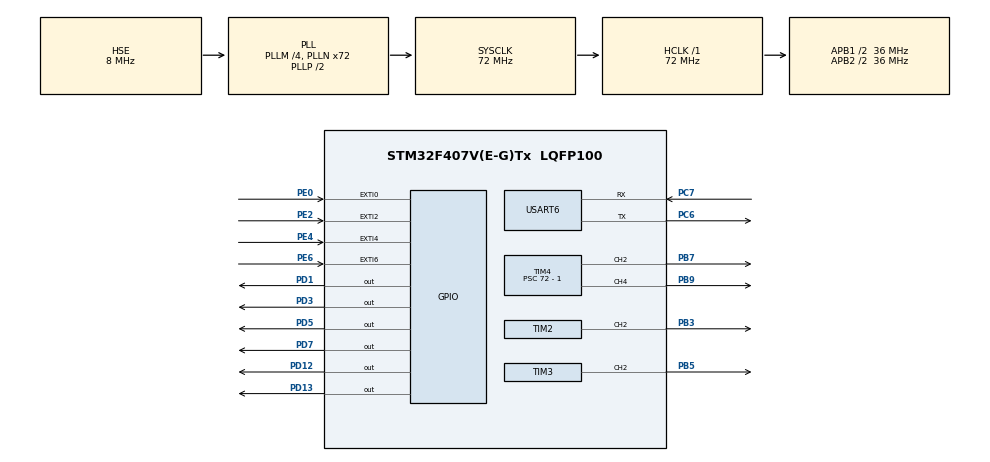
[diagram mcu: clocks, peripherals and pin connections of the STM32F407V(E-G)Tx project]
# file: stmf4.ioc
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Mcu.Family=STM32F4
VP_TIM5_VS_ClockSourceINT.Mode=Internal
PH0-OSC_IN.Signal=RCC_OSC_IN
RCC.CortexFreq_Value=72000000
TIM2.Channel-PWM\ Generation2\ CH2=TIM_CHANNEL_2
RCC.SYSCLKSource=RCC_SYSCLKSOURCE_PLLCLK
ProjectManager.StackSize=0x400
PD13.Signal=GPIO_Output
NVIC.TIM5_IRQn=true\:1\:0\:true\:false\:true\:true\:true
RCC.HCLKFreq_Value=72000000
RCC.APB2TimFreq_Value=72000000
TIM3.Period=100 - 1
PC7.Signal=USART6_RX
RCC.AHBFreq_Value=72000000
PH0-OSC_IN.Mode=HSE-External-Oscillator
RCC.HSE_VALUE=8000000
TIM3.Prescaler=72-1
SH.S_TIM4_CH2.0=TIM4_CH2,PWM Generation2 CH2
PE2.Signal=GPXTI2
PB7.Signal=S_TIM4_CH2
TIM4.Period=100 - 1
PE4.Signal=GPXTI4
PH1-OSC_OUT.Mode=HSE-External-Oscillator
PB9.Signal=S_TIM4_CH4
Mcu.Package=LQFP100
TIM2.Prescaler=72 - 1
USART6.VirtualMode=VM_ASYNC
PD12.Signal=GPIO_Output
RCC.APB2CLKDivider=RCC_HCLK_DIV2
NVIC.EXTI2_IRQn=true\:2\:1\:true\:false\:true\:true\:true
RCC.APB1TimFreq_Value=72000000
TIM4.Channel-PWM\ Generation4\ CH4=TIM_CHANNEL_4
VP_TIM3_VS_ClockSourceINT.Mode=Internal
RCC.PLLSourceVirtual=RCC_PLLSOURCE_HSE
NVIC.EXTI4_IRQn=true\:2\:2\:true\:false\:true\:true\:true
SH.S_TIM4_CH4.0=TIM4_CH4,PWM Generation4 CH4
PD3.Signal=GPIO_Output
PC6.Signal=USART6_TX
PD7.Signal=GPIO_Output
PD1.Signal=GPIO_Output
PD5.Signal=GPIO_Output
RCC.APB1CLKDivider=RCC_HCLK_DIV2
NVIC.USART6_IRQn=true\:0\:0\:false\:false\:true\:true\:true
SH.S_TIM2_CH2.0=TIM2_CH2,PWM Generation2 CH2
ProjectManager.TargetToolchain=STM32CubeIDE
PC6.Mode=Asynchronous
TIM4.Prescaler=72 - 1
RCC.LSE_VALUE=32768
SH.S_TIM3_CH2.0=TIM3_CH2,PWM Generation2 CH2
board=STM32F407G-DISC1
RCC.VCOOutputFreq_Value=144000000
TIM4.Channel-PWM\ Generation2\ CH2=TIM_CHANNEL_2
RCC.APB2Freq_Value=36000000
VP_TIM2_VS_ClockSourceINT.Mode=Internal
PH1-OSC_OUT.Signal=RCC_OSC_OUT
TIM2.Period=100 - 1
PE6.Signal=GPXTI6
Mcu.Name=STM32F407V(E-G)Tx
PE0.Signal=GPXTI0
RCC.48MHZClocksFreq_Value=20571428.57142857
PB3.Signal=S_TIM2_CH2
NVIC.EXTI0_IRQn=true\:2\:0\:true\:false\:true\:true\:true
RCC.SYSCLKFreq_VALUE=72000000
PB5.Signal=S_TIM3_CH2
TIM5.Prescaler=7200-1
NVIC.EXTI9_5_IRQn=true\:2\:3\:true\:false\:true\:true\:true
ProjectManager.HeapSize=0x200
RCC.HSI_VALUE=16000000
VP_TIM4_VS_ClockSourceINT.Mode=Internal
RCC.PLLQ=7
NVIC.PriorityGroup=NVIC_PRIORITYGROUP_2
TIM3.Channel-PWM\ Generation2\ CH2=TIM_CHANNEL_2
RCC.PLLM=4
RCC.PLLN=72
TIM5.Period=1000 - 1
PC7.Mode=Asynchronous
RCC.APB1Freq_Value=36000000

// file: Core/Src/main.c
/* USER CODE BEGIN Header */
/**
  ******************************************************************************
  * @file           : main.c
  * @brief          : Main program body
  ******************************************************************************
  * @attention
  *
  * <h2><center>&copy; Copyright (c) 2022 STMicroelectronics.
  * All rights reserved.</center></h2>
  *
  * This software component is licensed by ST under BSD 3-Clause license,
  * the "License"; You may not use this file except in compliance with the
  * License. You may obtain a copy of the License at:
  *                        opensource.org/licenses/BSD-3-Clause
  *
  ******************************************************************************
  */
/* USER CODE END Header */
#include "main.h"

/* USER CODE BEGIN Includes */

#include "string.h"
#include "math.h"

/* USER CODE END Includes */

TIM_HandleTypeDef htim2;
TIM_HandleTypeDef htim3;
TIM_HandleTypeDef htim4;
TIM_HandleTypeDef htim5;

UART_HandleTypeDef huart6;

/* USER CODE BEGIN PV */
//									3	  5     7     9
uint8_t speed_tx[12] = {'\n','s',':',0,':',0,':',0,':',0,'#','\n'};

uint8_t counter[4] = {0,0,0,0};

uint8_t temp = 0;

uint8_t command[30];

uint8_t index_command = 0;

uint8_t buffer_flag = 0;

uint8_t update_motor_state = 0;

int duty[4]= {0,0,0,0};

uint8_t dir[4]= {1,1,1,1};

uint8_t check_command[] = {'!','d','r','v'};

/* USER CODE END PV */

void SystemClock_Config(void);
static void MX_GPIO_Init(void);
static void MX_TIM2_Init(void);
static void MX_TIM3_Init(void);
static void MX_TIM4_Init(void);
static void MX_TIM5_Init(void);
static void MX_USART6_UART_Init(void);
/* USER CODE BEGIN PFP */

void HAL_GPIO_EXTI_Callback(uint16_t GPIO_Pin)
{
	switch(GPIO_Pin)
	{

		case GPIO_PIN_0:
		{
			counter[0]++;
			break;
		}
		case GPIO_PIN_2:
		{
			counter[1]++;
			break;
		}
		case GPIO_PIN_4:
		{
			counter[2]++;
			break;
		}
		case GPIO_PIN_6:
		{
			counter[3]++;
			break;
		}
		default:
			break;

	}

}

void HAL_TIM_PeriodElapsedCallback(TIM_HandleTypeDef * htim)
{
	int idx = 3;

	for(int i = 0; i < 4; i++)
	{
		speed_tx[idx] = counter[i];
		idx+= 2;
		counter[i] = 0;
	}

	GPIOD->ODR ^= (1<<13);
}

int sth = 0;

void HAL_UART_RxCpltCallback(UART_HandleTypeDef * huart)
{

	if(huart->Instance == USART6)
	{
//		if(sth % 100 == 0) GPIOD->ODR ^= (1<<12);
//
//		else sth++;

		command[index_command++] = temp;

		index_command %= 30;

		HAL_UART_Receive_IT(&huart6, &temp,	 sizeof(temp));

		buffer_flag = 1;
	}

}

void HAL_UART_TxCpltCallback(UART_HandleTypeDef * huart)
{

	GPIOD->ODR ^= (1<<12);

}

void Command_parser()
{

	if(temp == '#')
	{

		index_command = (index_command == 0)? 28: index_command - 2;

		for(int i = 3; i >= 0 ; i--)
		{

			int k =0;

			duty[i] = 0;

			while(k < 3)
			{

				if(command[index_command] > '9' || command[index_command] < '0')
				{
					return;
				}

				duty[i] = duty[i] + (int) pow(10, (double)k)*(command[index_command] - '0');

				index_command =  (index_command == 0)? 29: index_command - 1;

				k++;

			}

			if(duty[i] > 200)
			{
				return;
			}

			if(duty[i] >= 100)
			{
				dir[i] = 1;

				duty[i] -= 100;
			}

			else dir[i] = 0;

			if(command[index_command] != ':')
			{
				return;
			}

			index_command = (index_command == 0)? 29: index_command - 1;

		}

		for(int i = 3; i <= 0; i--)
		{
			if(check_command[i] != command[index_command])
			{
				return;
			}

		}

		update_motor_state = 1;
	}

}

void Spin_M1(int speed, uint8_t dir)
{
	if(speed > 100) return;

	if(dir) GPIOD->ODR |= (1<<1);

	else GPIOD->ODR &= ~(1<<1);

	TIM2->CCR2 = speed;
}

void Spin_M2(int speed, uint8_t dir)
{
	if(speed > 100) return;

	if(dir) GPIOD->ODR |= (1<<3);

	else GPIOD->ODR &= ~(1<<3);

	TIM3->CCR2 = speed;
}

void Spin_M3(int speed, uint8_t dir)
{
	if(speed > 100) return;

	if(dir) GPIOD->ODR |= (1<<5);

	else GPIOD->ODR &= ~(1<<5);

	TIM4->CCR2 = speed;
}

void Spin_M4(int speed, uint8_t dir)
{
	if(speed > 100) return;

	if(dir) GPIOD->ODR |= (1<<7);

	else GPIOD->ODR &= ~(1<<7);

	TIM4->CCR4 = speed;
}

void Driver()
{
	if(update_motor_state)
	{
		update_motor_state = 0;

		Spin_M1(duty[0],dir[0]);

		Spin_M2(duty[1],dir[1]);

		Spin_M3(duty[2],dir[2]);

		Spin_M4(duty[3],dir[3]);
	}
}

/* USER CODE END PFP */

int main(void)
{

  /* MCU Configuration--------------------------------------------------------*/

  /* Reset of all peripherals, Initializes the Flash interface and the Systick. */
  HAL_Init();

  /* Configure the system clock */
  SystemClock_Config();

  /* Initialize all configured peripherals */
  MX_GPIO_Init();
  MX_TIM2_Init();
  MX_TIM3_Init();
  MX_TIM4_Init();
  MX_TIM5_Init();
  MX_USART6_UART_Init();
  /* USER CODE BEGIN 2 */

  HAL_TIM_PWM_Start(&htim2, TIM_CHANNEL_2);
  HAL_TIM_PWM_Start(&htim3, TIM_CHANNEL_2);
  HAL_TIM_PWM_Start(&htim4, TIM_CHANNEL_2);
  HAL_TIM_PWM_Start(&htim4, TIM_CHANNEL_4);

  HAL_UART_Receive_IT(&huart6, &temp, sizeof(temp));

  HAL_TIM_Base_Start_IT(&htim5);

  HAL_UART_Transmit_DMA(&huart6, speed_tx, 12);

  /* USER CODE END 2 */

  /* Infinite loop */
  while (1)
  {

    /* USER CODE BEGIN 3 */

	  if(buffer_flag)
	  {
		 // HAL_UART_Transmit(&huart1, speed_tx, 12, 100);

		  Command_parser();

		  Driver();

		  buffer_flag = 0;
	  }

  }
  /* USER CODE END 3 */
}

void SystemClock_Config(void)
{
  RCC_OscInitTypeDef RCC_OscInitStruct = {0};
  RCC_ClkInitTypeDef RCC_ClkInitStruct = {0};

  /** Configure the main internal regulator output voltage
  */
  __HAL_RCC_PWR_CLK_ENABLE();
  __HAL_PWR_VOLTAGESCALING_CONFIG(PWR_REGULATOR_VOLTAGE_SCALE1);
  /** Initializes the RCC Oscillators according to the specified parameters
  * in the RCC_OscInitTypeDef structure.
  */
  RCC_OscInitStruct.OscillatorType = RCC_OSCILLATORTYPE_HSE;
  RCC_OscInitStruct.HSEState = RCC_HSE_ON;
  RCC_OscInitStruct.PLL.PLLState = RCC_PLL_ON;
  RCC_OscInitStruct.PLL.PLLSource = RCC_PLLSOURCE_HSE;
  RCC_OscInitStruct.PLL.PLLM = 4;
  RCC_OscInitStruct.PLL.PLLN = 72;
  RCC_OscInitStruct.PLL.PLLP = RCC_PLLP_DIV2;
  RCC_OscInitStruct.PLL.PLLQ = 7;
  if (HAL_RCC_OscConfig(&RCC_OscInitStruct) != HAL_OK)
  {
    Error_Handler();
  }
  /** Initializes the CPU, AHB and APB buses clocks
  */
  RCC_ClkInitStruct.ClockType = RCC_CLOCKTYPE_HCLK|RCC_CLOCKTYPE_SYSCLK
                              |RCC_CLOCKTYPE_PCLK1|RCC_CLOCKTYPE_PCLK2;
  RCC_ClkInitStruct.SYSCLKSource = RCC_SYSCLKSOURCE_PLLCLK;
  RCC_ClkInitStruct.AHBCLKDivider = RCC_SYSCLK_DIV1;
  RCC_ClkInitStruct.APB1CLKDivider = RCC_HCLK_DIV2;
  RCC_ClkInitStruct.APB2CLKDivider = RCC_HCLK_DIV2;

  if (HAL_RCC_ClockConfig(&RCC_ClkInitStruct, FLASH_LATENCY_2) != HAL_OK)
  {
    Error_Handler();
  }
}

static void MX_TIM2_Init(void)
{

  TIM_ClockConfigTypeDef sClockSourceConfig = {0};
  TIM_MasterConfigTypeDef sMasterConfig = {0};
  TIM_OC_InitTypeDef sConfigOC = {0};

  htim2.Instance = TIM2;
  htim2.Init.Prescaler = 72 - 1;
  htim2.Init.CounterMode = TIM_COUNTERMODE_UP;
  htim2.Init.Period = 100 - 1;
  htim2.Init.ClockDivision = TIM_CLOCKDIVISION_DIV1;
  htim2.Init.AutoReloadPreload = TIM_AUTORELOAD_PRELOAD_DISABLE;
  if (HAL_TIM_Base_Init(&htim2) != HAL_OK)
  {
    Error_Handler();
  }
  sClockSourceConfig.ClockSource = TIM_CLOCKSOURCE_INTERNAL;
  if (HAL_TIM_ConfigClockSource(&htim2, &sClockSourceConfig) != HAL_OK)
  {
    Error_Handler();
  }
  if (HAL_TIM_PWM_Init(&htim2) != HAL_OK)
  {
    Error_Handler();
  }
  sMasterConfig.MasterOutputTrigger = TIM_TRGO_RESET;
  sMasterConfig.MasterSlaveMode = TIM_MASTERSLAVEMODE_DISABLE;
  if (HAL_TIMEx_MasterConfigSynchronization(&htim2, &sMasterConfig) != HAL_OK)
  {
    Error_Handler();
  }
  sConfigOC.OCMode = TIM_OCMODE_PWM1;
  sConfigOC.Pulse = 0;
  sConfigOC.OCPolarity = TIM_OCPOLARITY_HIGH;
  sConfigOC.OCFastMode = TIM_OCFAST_DISABLE;
  if (HAL_TIM_PWM_ConfigChannel(&htim2, &sConfigOC, TIM_CHANNEL_2) != HAL_OK)
  {
    Error_Handler();
  }
  HAL_TIM_MspPostInit(&htim2);

}

static void MX_TIM3_Init(void)
{

  TIM_ClockConfigTypeDef sClockSourceConfig = {0};
  TIM_MasterConfigTypeDef sMasterConfig = {0};
  TIM_OC_InitTypeDef sConfigOC = {0};

  htim3.Instance = TIM3;
  htim3.Init.Prescaler = 72-1;
  htim3.Init.CounterMode = TIM_COUNTERMODE_UP;
  htim3.Init.Period = 100 - 1;
  htim3.Init.ClockDivision = TIM_CLOCKDIVISION_DIV1;
  htim3.Init.AutoReloadPreload = TIM_AUTORELOAD_PRELOAD_DISABLE;
  if (HAL_TIM_Base_Init(&htim3) != HAL_OK)
  {
    Error_Handler();
  }
  sClockSourceConfig.ClockSource = TIM_CLOCKSOURCE_INTERNAL;
  if (HAL_TIM_ConfigClockSource(&htim3, &sClockSourceConfig) != HAL_OK)
  {
    Error_Handler();
  }
  if (HAL_TIM_PWM_Init(&htim3) != HAL_OK)
  {
    Error_Handler();
  }
  sMasterConfig.MasterOutputTrigger = TIM_TRGO_RESET;
  sMasterConfig.MasterSlaveMode = TIM_MASTERSLAVEMODE_DISABLE;
  if (HAL_TIMEx_MasterConfigSynchronization(&htim3, &sMasterConfig) != HAL_OK)
  {
    Error_Handler();
  }
  sConfigOC.OCMode = TIM_OCMODE_PWM1;
  sConfigOC.Pulse = 0;
  sConfigOC.OCPolarity = TIM_OCPOLARITY_HIGH;
  sConfigOC.OCFastMode = TIM_OCFAST_DISABLE;
  if (HAL_TIM_PWM_ConfigChannel(&htim3, &sConfigOC, TIM_CHANNEL_2) != HAL_OK)
  {
    Error_Handler();
  }
  HAL_TIM_MspPostInit(&htim3);

}

static void MX_TIM4_Init(void)
{

  TIM_ClockConfigTypeDef sClockSourceConfig = {0};
  TIM_MasterConfigTypeDef sMasterConfig = {0};
  TIM_OC_InitTypeDef sConfigOC = {0};

  htim4.Instance = TIM4;
  htim4.Init.Prescaler = 72 - 1;
  htim4.Init.CounterMode = TIM_COUNTERMODE_UP;
  htim4.Init.Period = 100 - 1;
  htim4.Init.ClockDivision = TIM_CLOCKDIVISION_DIV1;
  htim4.Init.AutoReloadPreload = TIM_AUTORELOAD_PRELOAD_DISABLE;
  if (HAL_TIM_Base_Init(&htim4) != HAL_OK)
  {
    Error_Handler();
  }
  sClockSourceConfig.ClockSource = TIM_CLOCKSOURCE_INTERNAL;
  if (HAL_TIM_ConfigClockSource(&htim4, &sClockSourceConfig) != HAL_OK)
  {
    Error_Handler();
  }
  if (HAL_TIM_PWM_Init(&htim4) != HAL_OK)
  {
    Error_Handler();
  }
  sMasterConfig.MasterOutputTrigger = TIM_TRGO_RESET;
  sMasterConfig.MasterSlaveMode = TIM_MASTERSLAVEMODE_DISABLE;
  if (HAL_TIMEx_MasterConfigSynchronization(&htim4, &sMasterConfig) != HAL_OK)
  {
    Error_Handler();
  }
  sConfigOC.OCMode = TIM_OCMODE_PWM1;
  sConfigOC.Pulse = 0;
  sConfigOC.OCPolarity = TIM_OCPOLARITY_HIGH;
  sConfigOC.OCFastMode = TIM_OCFAST_DISABLE;
  if (HAL_TIM_PWM_ConfigChannel(&htim4, &sConfigOC, TIM_CHANNEL_2) != HAL_OK)
  {
    Error_Handler();
  }
  if (HAL_TIM_PWM_ConfigChannel(&htim4, &sConfigOC, TIM_CHANNEL_4) != HAL_OK)
  {
    Error_Handler();
  }
  HAL_TIM_MspPostInit(&htim4);

}

static void MX_TIM5_Init(void)
{

  TIM_ClockConfigTypeDef sClockSourceConfig = {0};
  TIM_MasterConfigTypeDef sMasterConfig = {0};

  htim5.Instance = TIM5;
  htim5.Init.Prescaler = 7200-1;
  htim5.Init.CounterMode = TIM_COUNTERMODE_UP;
  htim5.Init.Period = 1000 - 1;
  htim5.Init.ClockDivision = TIM_CLOCKDIVISION_DIV1;
  htim5.Init.AutoReloadPreload = TIM_AUTORELOAD_PRELOAD_DISABLE;
  if (HAL_TIM_Base_Init(&htim5) != HAL_OK)
  {
    Error_Handler();
  }
  sClockSourceConfig.ClockSource = TIM_CLOCKSOURCE_INTERNAL;
  if (HAL_TIM_ConfigClockSource(&htim5, &sClockSourceConfig) != HAL_OK)
  {
    Error_Handler();
  }
  sMasterConfig.MasterOutputTrigger = TIM_TRGO_RESET;
  sMasterConfig.MasterSlaveMode = TIM_MASTERSLAVEMODE_DISABLE;
  if (HAL_TIMEx_MasterConfigSynchronization(&htim5, &sMasterConfig) != HAL_OK)
  {
    Error_Handler();
  }

}

static void MX_USART6_UART_Init(void)
{

  huart6.Instance = USART6;
  huart6.Init.BaudRate = 115200;
  huart6.Init.WordLength = UART_WORDLENGTH_8B;
  huart6.Init.StopBits = UART_STOPBITS_1;
  huart6.Init.Parity = UART_PARITY_NONE;
  huart6.Init.Mode = UART_MODE_TX_RX;
  huart6.Init.HwFlowCtl = UART_HWCONTROL_NONE;
  huart6.Init.OverSampling = UART_OVERSAMPLING_16;
  if (HAL_UART_Init(&huart6) != HAL_OK)
  {
    Error_Handler();
  }

}

static void MX_GPIO_Init(void)
{
  GPIO_InitTypeDef GPIO_InitStruct = {0};

  /* GPIO Ports Clock Enable */
  __HAL_RCC_GPIOE_CLK_ENABLE();
  __HAL_RCC_GPIOH_CLK_ENABLE();
  __HAL_RCC_GPIOD_CLK_ENABLE();
  __HAL_RCC_GPIOC_CLK_ENABLE();
  __HAL_RCC_GPIOB_CLK_ENABLE();

  /*Configure GPIO pin Output Level */
  HAL_GPIO_WritePin(GPIOD, GPIO_PIN_12|GPIO_PIN_13|GPIO_PIN_1|GPIO_PIN_3
                          |GPIO_PIN_5|GPIO_PIN_7, GPIO_PIN_RESET);

  /*Configure GPIO pins : PE2 PE4 PE6 PE0 */
  GPIO_InitStruct.Pin = GPIO_PIN_2|GPIO_PIN_4|GPIO_PIN_6|GPIO_PIN_0;
  GPIO_InitStruct.Mode = GPIO_MODE_IT_RISING;
  GPIO_InitStruct.Pull = GPIO_NOPULL;
  HAL_GPIO_Init(GPIOE, &GPIO_InitStruct);

  /*Configure GPIO pins : PD12 PD13 PD1 PD3
                           PD5 PD7 */
  GPIO_InitStruct.Pin = GPIO_PIN_12|GPIO_PIN_13|GPIO_PIN_1|GPIO_PIN_3
                          |GPIO_PIN_5|GPIO_PIN_7;
  GPIO_InitStruct.Mode = GPIO_MODE_OUTPUT_PP;
  GPIO_InitStruct.Pull = GPIO_NOPULL;
  GPIO_InitStruct.Speed = GPIO_SPEED_FREQ_LOW;
  HAL_GPIO_Init(GPIOD, &GPIO_InitStruct);

  /* EXTI interrupt init*/
  HAL_NVIC_SetPriority(EXTI0_IRQn, 2, 0);
  HAL_NVIC_EnableIRQ(EXTI0_IRQn);

  HAL_NVIC_SetPriority(EXTI2_IRQn, 2, 1);
  HAL_NVIC_EnableIRQ(EXTI2_IRQn);

  HAL_NVIC_SetPriority(EXTI4_IRQn, 2, 2);
  HAL_NVIC_EnableIRQ(EXTI4_IRQn);

  HAL_NVIC_SetPriority(EXTI9_5_IRQn, 2, 3);
  HAL_NVIC_EnableIRQ(EXTI9_5_IRQn);

}

void Error_Handler(void)
{
  __disable_irq();
  while (1)
  {
  }
}

/************************ (C) COPYRIGHT STMicroelectronics *****END OF FILE****/
